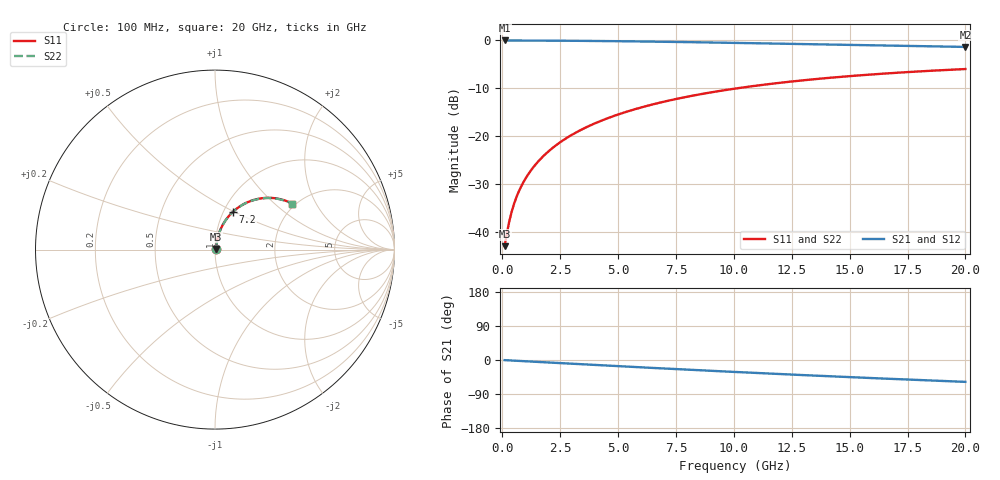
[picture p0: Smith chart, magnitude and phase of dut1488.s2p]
! Touchstone file exported from HFSS 2026.1.0
!  File:  C:/ffzhzh/LocalFiles/Ansys_Project_Files/temp_train_BSMRDL_1488_1783181467_18472.aedt
!  Generated:  12:12:29 AM Jul  5, 2026
!  Design:  BSMRDL
!  Project:  temp_train_BSMRDL_1488_1783181467_18472
! Variables:
!  h_bsmrdl = 2.72um
!  h_ox = 20um
!  h_rdl = 5um
!  h_sub = 80um
!  h_tmrdl = 5um
!  h_tsv = 80um
!  h_via = 3um
!  l_bsmrdl = 884.49um
!  l_sub = 1284.49um
!  l_tmrdl = 200um
!  m_sub = 200um
!  pitch = 45.78um
!  r_tsv = 6um
!  s_tmrdl = 10um
!  w_bsmrdl = 19.52um
!  w_sub = 500um
!  w_tmrdl = 12um
!  x_tsv_center1 = 206um
!  x_tsv_center2 = 1110.01um
!  x_tsv_center3 = 1322.01um
!  x_tsv_center4 = 2226.02um
!  x_tsv_center5 = 2438.02um
!  x_tsv_center6 = 3342.03um
# GHz S MA R 50.000000
! Terminal data exported
! Port[1] = BSM_RDL1_1_T1
! Port[2] = BSM_RDL1_1_T2
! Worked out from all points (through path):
!   200 points, 100 MHz to 20 GHz, reference 50 ohm
!   highest |S21| = -0.05 dB at 100 MHz (marker M1); lowest = -1.4 dB at 20 GHz (marker M2)
!   group delay of S21, straight-line fit = 8.03 ps
!   lowest |S11| = -42.9 dB at 100 MHz (marker M3), VSWR 1.01, Z = 50.6 + j0.38 ohm
!   |S11| at or under -10 dB: start of sweep to 10.18 GHz
!   |S22| runs from -42.9 to -6.0 dB; largest |S21 - S12| = 5.5e-15
!   S11 on the Smith chart (normalised r, x): 100 MHz: 1.01, +0.01; 7.2 GHz: 1.11, +0.50; 20 GHz: 1.92, +1.31
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0.1  0.007136 31.8  0.9939 -0.3  0.9939 -0.3  0.007136 31.8
! Gamma 0 0 0 0
! Port Impedance 50 0 50 0
0.2  0.009757 49.8  0.9938 -0.7  0.9938 -0.7  0.009757 49.8
0.3  0.01288 59.0  0.9935 -1.0  0.9935 -1.0  0.01288 59.0
0.4  0.01615 64.3  0.9932 -1.4  0.9932 -1.4  0.01615 64.3
0.5  0.01945 67.6  0.993 -1.7  0.993 -1.7  0.01945 67.6
0.6  0.02276 69.9  0.9927 -2.0  0.9927 -2.0  0.02276 69.9
0.8  0.02938 72.9  0.9923 -2.7  0.9923 -2.7  0.02938 72.9
1.1  0.03937 75.3  0.9917 -3.7  0.9917 -3.7  0.03938 75.2
1.3  0.04607 76.1  0.9913 -4.3  0.9913 -4.3  0.04607 76.1
1.6  0.05614 76.7  0.9906 -5.3  0.9906 -5.3  0.05614 76.7
2.1  0.07295 76.8  0.9893 -6.9  0.9893 -6.9  0.07295 76.8
2.7  0.09306 76.1  0.9874 -8.9  0.9874 -8.9  0.09306 76.0
3.5  0.1196 74.5  0.9843 -11.4  0.9843 -11.4  0.1196 74.4
4.2  0.1425 72.8  0.9809 -13.7  0.9809 -13.7  0.1425 72.7
5  0.1681 70.6  0.9765 -16.2  0.9765 -16.2  0.1681 70.6
6.8  0.2233 65.6  0.9645 -21.8  0.9645 -21.8  0.2233 65.5
7.2  0.2351 64.4  0.9615 -23.1  0.9615 -23.1  0.2351 64.3
8.6  0.2747 60.4  0.9503 -27.3  0.9503 -27.3  0.2747 60.3
10.1  0.3143 56.2  0.9373 -31.7  0.9373 -31.7  0.3143 56.1
13.4  0.3906 47.2  0.9072 -40.9  0.9072 -40.9  0.3906 47.1
16.7  0.4524 38.8  0.8777 -49.6  0.8777 -49.6  0.4524 38.6
20  0.5006 30.8  0.8512 -57.7  0.8512 -57.7  0.5006 30.6
